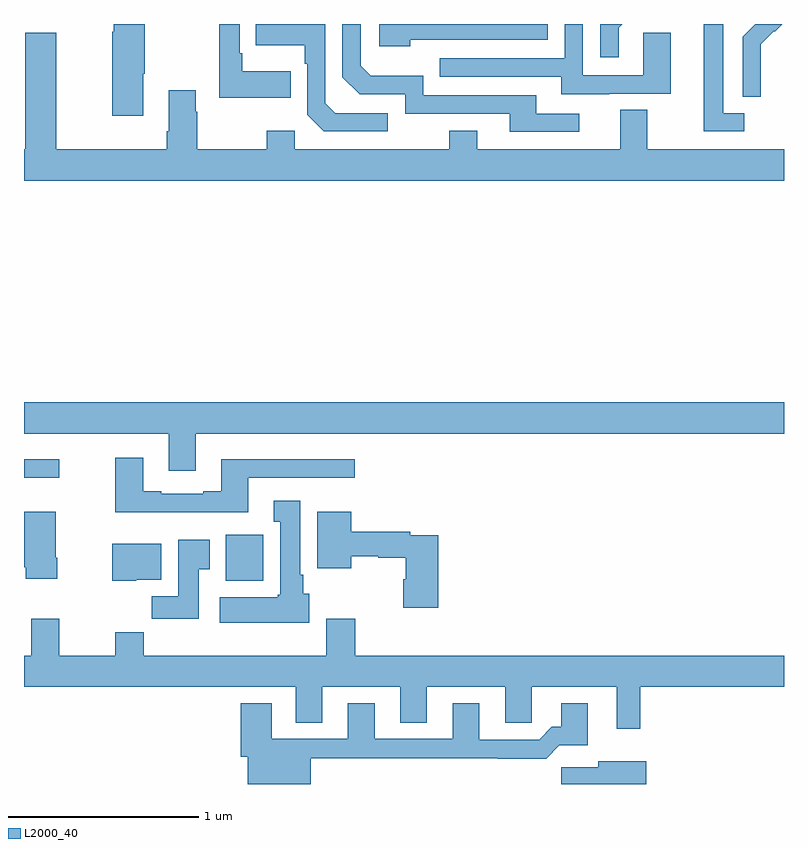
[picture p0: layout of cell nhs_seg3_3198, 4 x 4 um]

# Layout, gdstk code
import gdstk
lib = gdstk.Library(unit=1e-6, precision=1e-09)
def R(c, l, rs):  # rectangles x0, y0, x1, y1
    for r in rs: c.add(gdstk.rectangle(r[:2], r[2:], *l))
def P(c, l, *ps):  # polygons
    for p in ps: c.add(gdstk.Polygon(p, *l))
L2000_40 = (2000, 40)

nhs_seg3_3198 = lib.new_cell('nhs_seg3_3198')
R(nhs_seg3_3198, L2000_40, [(278.063,705.47,278.26,705.712), (277,706.011,277.186,706.108)])
P(nhs_seg3_3198, L2000_40, [(278.405,708.151),(278.149,708.151),(278.149,708.247),(278.136,708.247),(278.136,708.4),(278.028,708.4),(278.028,708.011),(278.405,708.011)],
  [(280.129,708.381),(280.148,708.4),(280.032,708.4),(280.032,708.225),(280.129,708.225)],
  [(280.792,707.931),(280.681,707.931),(280.681,708.4),(280.577,708.4),(280.577,707.835),(280.792,707.835)],
  [(277.627,708.139),(277.635,708.139),(277.635,708.4),(277.472,708.4),(277.472,708.359),(277.465,708.359),(277.465,707.916),(277.627,707.916)],
  [(279.032,708.318),(279.756,708.318),(279.756,708.4),(278.871,708.4),(278.871,708.284),(279.032,708.284)],
  [(280.878,708.17),(280.877,708.17),(280.877,708.293),(280.947,708.363),(280.95,708.36),(280.99,708.4),(280.848,708.4),(280.782,708.334),(280.782,708.016),(280.878,708.016)],
  [(279.922,707.928),(279.697,707.928),(279.697,708.024),(279.102,708.024),(279.102,708.127),(278.825,708.127),(278.772,708.18),(278.772,708.4),(278.676,708.4),(278.676,708.12),(278.766,708.03),(279.006,708.03),(279.006,707.928),(279.557,707.928),(279.557,707.832),(279.922,707.832)],
  [(278.914,707.931),(278.637,707.931),(278.586,707.982),(278.586,708.4),(278.221,708.4),(278.221,708.287),(278.478,708.287),(278.478,708.191),(278.49,708.191),(278.49,707.922),(278.577,707.835),(278.914,707.835)],
  [(280.081,708.033),(280.405,708.033),(280.405,708.353),(280.26,708.353),(280.26,708.129),(279.942,708.129),(279.942,708.4),(279.846,708.4),(279.846,708.219),(279.187,708.219),(279.187,708.123),(279.827,708.123),(279.827,708.029),(280.081,708.029)],
  [(281,707.74),(280.279,707.74),(280.279,707.948),(280.139,707.948),(280.139,707.74),(279.385,707.74),(279.385,707.839),(279.238,707.839),(279.238,707.74),(278.424,707.74),(278.424,707.839),(278.278,707.839),(278.278,707.74),(277.911,707.74),(277.911,707.939),(277.903,707.939),(277.903,708.052),(277.763,708.052),(277.763,707.836),(277.751,707.836),(277.751,707.74),(277.171,707.74),(277.171,708.355),(277.007,708.355),(277.007,707.74),(277,707.74),(277,707.576),(281,707.576)],
  [(277.903,706.244),(281,706.244),(281,706.408),(277,706.408),(277,706.244),(277.763,706.244),(277.763,706.05),(277.903,706.05)],
  [(278.179,706.011),(278.74,706.011),(278.74,706.108),(278.039,706.108),(278.039,705.94),(277.943,705.94),(277.943,705.927),(277.723,705.927),(277.723,705.94),(277.627,705.94),(277.627,706.117),(277.48,706.117),(277.48,705.83),(278.179,705.83)],
  [(278.5,705.402),(278.47,705.402),(278.47,705.502),(278.455,705.502),(278.455,705.892),(278.315,705.892),(278.315,705.779),(278.348,705.779),(278.348,705.396),(278.335,705.396),(278.335,705.382),(278.031,705.382),(278.031,705.248),(278.5,705.248)],
  [(277.176,705.592),(277.168,705.592),(277.168,705.832),(277,705.832),(277,705.54),(277.01,705.54),(277.01,705.48),(277.176,705.48)],
  [(279.179,705.708),(279.032,705.708),(279.032,705.728),(278.722,705.728),(278.722,705.832),(278.543,705.832),(278.543,705.536),(278.722,705.536),(278.722,705.6),(278.865,705.6),(278.865,705.592),(279.008,705.592),(279.008,705.477),(278.996,705.477),(278.996,705.327),(279.179,705.327)],
  [(277.921,705.529),(277.978,705.529),(277.978,705.685),(277.811,705.685),(277.811,705.388),(277.672,705.388),(277.672,705.27),(277.921,705.27)],
  [(277.59,705.476),(277.723,705.476),(277.723,705.664),(277.465,705.664),(277.465,705.47),(277.59,705.47)],
  [(280.243,704.912),(281,704.912),(281,705.076),(278.744,705.076),(278.744,705.271),(278.591,705.271),(278.591,705.076),(277.631,705.076),(277.631,705.2),(277.48,705.2),(277.48,705.076),(277.185,705.076),(277.185,705.271),(277.037,705.271),(277.037,705.076),(277,705.076),(277,704.912),(278.429,704.912),(278.429,704.722),(278.569,704.722),(278.569,704.912),(278.981,704.912),(278.981,704.722),(279.121,704.722),(279.121,704.912),(279.533,704.912),(279.533,704.722),(279.672,704.722),(279.672,704.912),(280.121,704.912),(280.121,704.691),(280.243,704.691)],
  [(278.509,704.536),(279.493,704.536),(279.493,704.534),(279.749,704.534),(279.818,704.603),(279.967,704.603),(279.967,704.824),(279.827,704.824),(279.827,704.701),(279.778,704.701),(279.711,704.634),(279.397,704.634),(279.397,704.824),(279.257,704.824),(279.257,704.637),(278.845,704.637),(278.845,704.824),(278.705,704.824),(278.705,704.637),(278.305,704.637),(278.305,704.824),(278.141,704.824),(278.141,704.544),(278.177,704.544),(278.177,704.4),(278.509,704.4)],
  [(280.276,704.521),(280.022,704.521),(280.022,704.489),(279.828,704.489),(279.828,704.4),(280.276,704.4)])

lib.write_gds('nhs_seg3_3198.gds')
